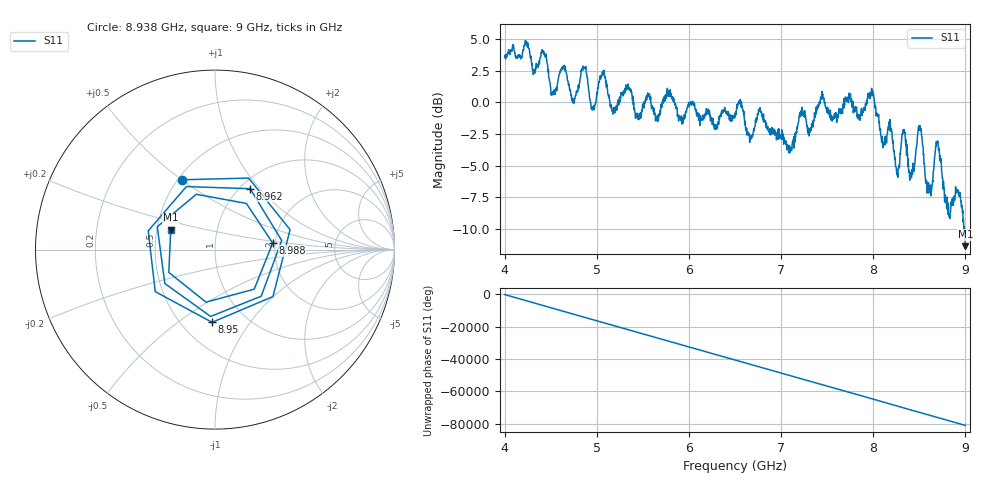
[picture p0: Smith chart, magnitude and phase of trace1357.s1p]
! Created with skrf 1.8.0 (http://scikit-rf.org).
# Hz S RI R 50.0
!freq ReS11 ImS11
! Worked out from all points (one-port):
!   1601 points, 4 GHz to 9 GHz, reference 50 ohm
!   lowest |S11| = -11.4 dB at 9 GHz (marker M1), VSWR 1.74, Z = 29.6 + j7.09 ohm
!   |S11| at or under -10 dB: 8.98289 GHz to 8.985691 GHz (2.801 MHz wide, 0.0312 % of centre); 8.98964 GHz to end of sweep
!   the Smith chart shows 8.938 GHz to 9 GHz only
!   S11 on the Smith chart (normalised r, x): 8.938 GHz: 0.52, +0.50; 8.95 GHz: 0.70, -0.68; 8.962 GHz: 1.11, +0.89; 8.988 GHz: 1.94, +0.16; 9 GHz: 0.59, +0.14
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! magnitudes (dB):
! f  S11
! 4 GHz  3.6
! 4.422 GHz  4.0
! 4.528 GHz  0.7
! 4.625 GHz  2.6
! 4.744 GHz  0.0
! 4.856 GHz  2.7
! 4.956 GHz  -0.5
! 5.059 GHz  2.4
! 5.25 GHz  0.0
! 5.875 GHz  -1.1
! 6.5 GHz  -1.1
! 7.125 GHz  -3.1
! 7.219 GHz  -0.8
! 7.75 GHz  0.4
! 7.988 GHz  0.8
! 8.259 GHz  -5.7
! 8.325 GHz  -2.4
! 8.375 GHz  -4.5
! 8.422 GHz  -5.3
! 8.506 GHz  -1.8
! 8.606 GHz  -6.9
! 8.694 GHz  -3.1
! 8.812 GHz  -8.8
! 8.938 GHz  -7.3
! 8.95 GHz  -7.8
! 8.962 GHz  -8.1
! 8.988 GHz  -9.8
! 9 GHz  -11.4
